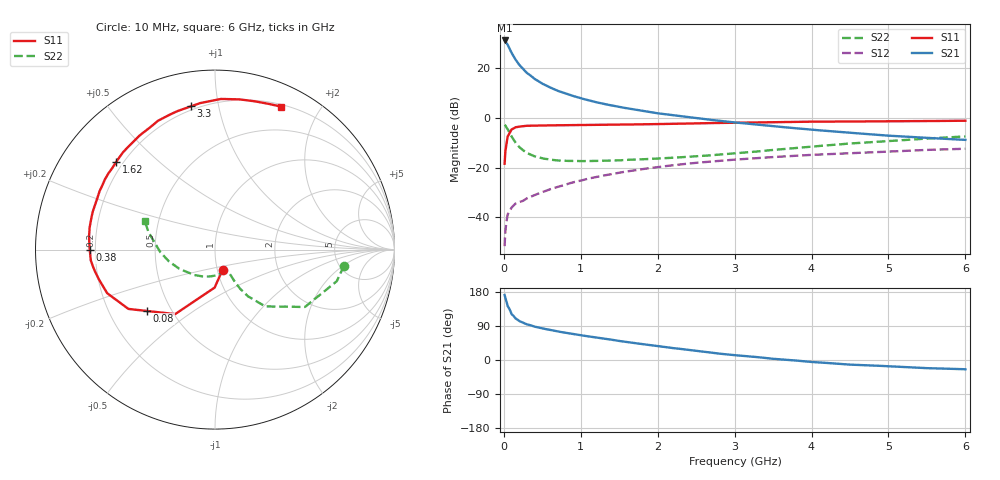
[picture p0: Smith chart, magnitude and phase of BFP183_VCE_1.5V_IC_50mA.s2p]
! Infineon Technologies  Discrete & RF Semiconductors
! BFP183
! VCE = 1.5 V,  IC =  50 mA
! Common Emitter S-Parameters:  Jan 2016
# GHz  S  MA  R  50
!  f  S11  S21  S12  S22
! GHz  MAG  ANG  MAG  ANG  MAG  ANG  MAG  ANG
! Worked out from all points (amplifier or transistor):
!   210 points, 10 MHz to 6 GHz, reference 50 ohm
!   highest |S21| = 31.2 dB at 10 MHz (marker M1)
!   |S21| within 3 dB of that: start of sweep to 69.97 MHz
!   unconditionally stable (mu >= 1): start of sweep to 32.29 MHz; 189.6 MHz to end of sweep
!   at 185 MHz: K = 0.98, MSG = 28.1 dB, |S12| = -34.1 dB
!   at 1.52 GHz: K = 1.74, MAG = 8.1 dB, |S12| = -21.9 dB
!   at 6 GHz: K = 1.34, MAG = -1.7 dB, |S12| = -12.4 dB
!   S11 on the Smith chart (normalised r, x): 10 MHz: 1.06, -0.24; 80 MHz: 0.37, -0.34; 380 MHz: 0.18, -0.00; 1.62 GHz: 0.17, +0.37; 3.3 GHz: 0.18, +0.83; 6 GHz: 0.22, +1.54
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0.01  0.1192 -69.0  36.44 171.5  0.0026 68.7  0.7242 -7.1
0.02  0.2115 -90.5  35.46 163.3  0.0052 69.4  0.7012 -14.5
0.05  0.4226 -121.7  29.87 142.2  0.0113 60.1  0.5945 -32.5
0.08  0.5101 -137.9  23.91 131.6  0.0138 50.6  0.4865 -40.8
0.1  0.5849 -145.6  20.59 121.4  0.0156 46.0  0.4224 -48.5
0.15  0.648 -158.0  15.1 110.0  0.0187 45.0  0.3184 -54.8
0.2  0.6678 -165.6  11.78 102.9  0.0201 45.0  0.2592 -57.3
0.24  0.6798 -169.8  10.02 99.1  0.0211 46.3  0.2301 -58.0
0.3  0.6946 -175.0  8.071 94.1  0.0239 49.2  0.1965 -58.5
0.38  0.6975 -179.7  6.507 89.5  0.027 52.6  0.1738 -58.5
0.4  0.699 179.1  6.125 88.0  0.0278 53.3  0.1681 -58.5
0.5  0.7055 174.1  4.903 83.3  0.032 55.1  0.153 -59.0
0.6  0.7093 170.0  4.123 79.2  0.0364 57.5  0.1445 -60.0
0.8  0.7132 162.7  3.104 71.8  0.0451 59.9  0.1365 -63.4
1.02  0.717 155.3  2.444 64.7  0.0555 60.1  0.1348 -68.7
1.62  0.7366 138.3  1.546 46.9  0.0844 57.1  0.1433 -87.0
2.02  0.7525 127.6  1.229 36.2  0.1031 53.4  0.1527 -100.8
3.1  0.802 103.2  0.784 11.1  0.1479 41.8  0.1979 -140.0
3.3  0.8095 99.5  0.73 7.5  0.1551 39.7  0.211 -146.5
4.1  0.8407 86.3  0.563 -6.4  0.1827 31.2  0.2719 -168.2
5.1  0.8569 73.9  0.43 -17.4  0.2125 21.8  0.35 171.0
6  0.8783 65.1  0.361 -24.4  0.2392 12.2  0.4235 157.6
